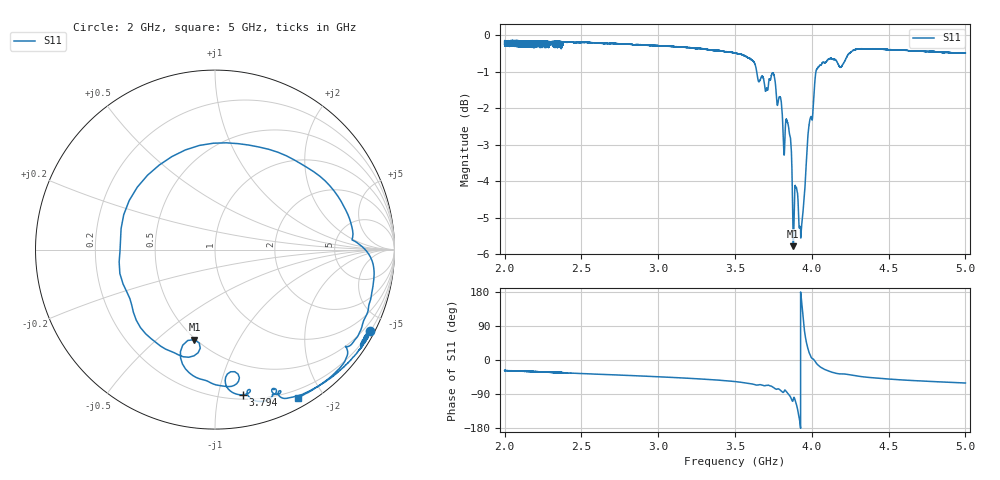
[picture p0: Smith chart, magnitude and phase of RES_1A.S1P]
!Agilent Technologies,E5071C,MY46214220,A.11.31
!Date: Fri Sep 22 10:07:49 2017
!Data & Calibration Information:
!Freq	S11:SOLT1(ON)
!PortZ  Port1:50+j0
!Above PortZ is port z conversion or system Z0 setting when saving the data.
!When reading, reference impedance value at option line is always used.
# Hz S dB R 50
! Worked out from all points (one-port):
!   20000 points, 2 GHz to 5 GHz, reference 50 ohm
!   lowest |S11| = -5.8 dB at 3.88 GHz (marker M1), VSWR 3.12, Z = 24.6 - j33.6 ohm
!   |S11| at or under -10 dB: nowhere
!   S11 on the Smith chart (normalised r, x): 2 GHz: 0.24, -4.05; 3.794 GHz: 0.24, -1.18; 5 GHz: 0.11, -1.70
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2e9  -0.24 -27.7
2.375019e9  -0.18 -33.8
2.750038e9  -0.23 -39.8
3.125056e9  -0.31 -46.7
3.500075e9  -0.48 -56.9
3.728536e9  -1.23 -68.4
3.79424e9  -1.69 -79.2
3.833842e9  -2.30 -83.5
3.850643e9  -2.57 -91.6
3.875094e9  -4.73 -108.9
3.879894e9  -5.78 -102.9
3.892495e9  -4.12 -107.8
3.904495e9  -4.28 -124.4
3.915146e9  -5.10 -146.7
3.925496e9  -5.44 -175.2
3.933447e9  -5.23 155.1
3.941697e9  -4.90 117.5
3.954298e9  -4.24 71.1
3.966898e9  -3.30 42.8
3.980699e9  -2.49 21.8
3.9957e9  -2.22 7.3
4.027801e9  -0.98 -7.5
4.063503e9  -0.79 -20.3
4.115106e9  -0.65 -29.9
4.179759e9  -0.85 -36.6
4.250113e9  -0.47 -39.4
4.625131e9  -0.41 -53.5
5e9  -0.49 -60.7
